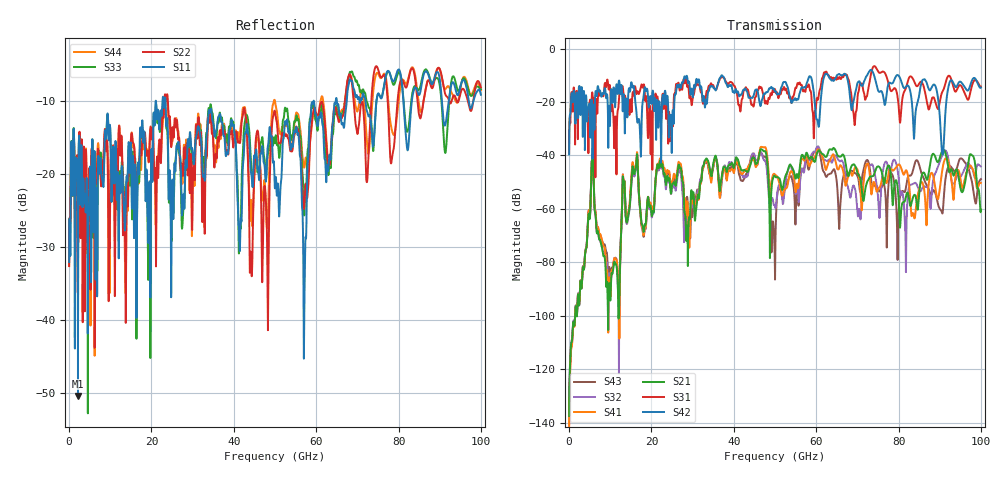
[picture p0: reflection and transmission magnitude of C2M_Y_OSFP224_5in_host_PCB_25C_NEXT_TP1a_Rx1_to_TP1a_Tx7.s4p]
# GHz S RI R 45
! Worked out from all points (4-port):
!   4000 points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, 25 MHz to 100 GHz, reference 45 ohm
!   strongest paths, dB at 25 MHz, 25.02 GHz, 50.02 GHz, 75.03 GHz, 100 GHz:
!     S42: -39.6, -29.2, -16.0, -15.6, -14.6
!     S31: -39.1, -25.5, -15.2, -8.5, -14.2
!     S21: -137.5, -50.8, -47.8, -44.1, -60.2
!     S41: -142.3, -49.5, -47.2, -52.7, -50.3
!     S32: -136.4, -51.7, -59.0, -55.6, -44.1
!     S43: -140.6, -50.5, -86.5, -52.6, -48.9
!   lowest |S11| = -50.3 dB at 2.175 GHz (marker M1), VSWR 1.01, Z = 44.7 - j0.0642 ohm
!   |S11| at or under -10 dB: start of sweep to 21.04 GHz; 23.43 GHz to 59.35 GHz (35.92 GHz wide, 86.8 % of centre); 59.48 GHz to 64.75 GHz (5.275 GHz wide, 8.49 % of centre) (the widest 3 of 11)
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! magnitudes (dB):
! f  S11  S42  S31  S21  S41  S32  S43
! 25 MHz  -32.0  -39.6  -39.1  -137.5  -142.3  -136.4  -140.6
! 2.175 GHz  -50.3  -24.6  -28.5  -92.2  -92.1  -91.9  -91.9
! 5.7 GHz  -15.4  -41.3  -16.8  -40.5  -40.4  -40.4  -40.3
! 11.97 GHz  -24.2  -14.1  -22.2  -97.6  -88.6  -94.6  -87.5
! 16.23 GHz  -22.9  -21.5  -15.8  -44.4  -43.5  -45.0  -44.1
! 49.6 GHz  -18.3  -14.9  -15.9  -48.2  -47.1  -57.6  -65.6
! 100 GHz  -9.1  -14.6  -14.2  -60.2  -50.3  -44.1  -48.9
